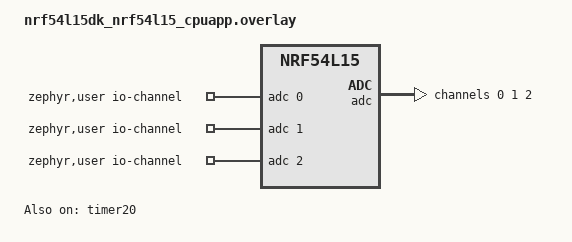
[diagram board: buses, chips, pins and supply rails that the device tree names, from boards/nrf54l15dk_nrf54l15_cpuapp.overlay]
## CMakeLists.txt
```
# SPDX-License-Identifier: Apache-2.0

cmake_minimum_required(VERSION 3.20.0)

find_package(Zephyr REQUIRED HINTS $ENV{ZEPHYR_BASE})
project(nrfx_timer_gppi_saadc)

target_sources(app PRIVATE src/main.c)
```

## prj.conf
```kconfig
CONFIG_LOG=y
CONFIG_COUNTER=y
CONFIG_ADC=y
CONFIG_NORDIC_DPPI=y
```

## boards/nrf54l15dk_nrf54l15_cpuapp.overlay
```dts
/ {
	zephyr,user {
		io-channels = <&adc 0>, <&adc 1> , <&adc 2>;
	};
};

&adc {
	#address-cells = <1>;
	#size-cells = <0>;

	status = "okay";

	channel@0 {
		reg = <0>;
		zephyr,gain = "ADC_GAIN_1";
		zephyr,reference = "ADC_REF_INTERNAL";
		zephyr,acquisition-time = <ADC_ACQ_TIME(ADC_ACQ_TIME_MICROSECONDS, 10)>;
		zephyr,input-positive = <NRF_SAADC_AIN1>;
		zephyr,resolution = <10>;
	};

	channel@1 {
		reg = <1>;
		zephyr,gain = "ADC_GAIN_1_4";
		zephyr,reference = "ADC_REF_EXTERNAL0";
		zephyr,acquisition-time = <ADC_ACQ_TIME_DEFAULT>;
		zephyr,input-positive = <NRF_SAADC_AIN4>;
		zephyr,resolution = <12>;
	};

	channel@2 {
		reg = <2>;
		zephyr,gain = "ADC_GAIN_2_3";
		zephyr,reference = "ADC_REF_INTERNAL";
		zephyr,acquisition-time = <ADC_ACQ_TIME(ADC_ACQ_TIME_MICROSECONDS, 10)>;
		zephyr,input-positive = <NRF_SAADC_AIN2>;
		zephyr,resolution = <10>;
	};
};

&timer20 {
	status = "okay";
	prescaler = <4>;
};
```

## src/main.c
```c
/*
 * Copyright (c) 2019 Nordic Semiconductor ASA
 *
 * SPDX-License-Identifier: Apache-2.0
 */

#include <zephyr/kernel.h>

#include <nrfx_gpiote.h>
#include <helpers/nrfx_gppi.h>
#include <hal/nrf_timer.h>
#include <hal/nrf_saadc.h>

#include <zephyr/drivers/adc.h>
#include <zephyr/drivers/adc/adc_nrf.h>
#include <zephyr/drivers/counter.h>
#include <zephyr/drivers/counter/counter_nrf.h>
#include <zephyr/drivers/misc/ppi/nrfx_dppi.h>

#include <zephyr/logging/log.h>
#include <zephyr/irq.h>
LOG_MODULE_REGISTER(nrfx_gppi, LOG_LEVEL_INF);

#define DEV_REG(node) ((void*)DT_REG_ADDR(DT_NODELABEL(node)))

#define DT_SPEC_AND_COMMA(node_id, prop, idx) ADC_DT_SPEC_GET_BY_IDX(node_id, idx),
static const struct adc_dt_spec adc_channels[] = {
	DT_FOREACH_PROP_ELEM(DT_PATH(zephyr_user), io_channels, DT_SPEC_AND_COMMA)
};

static int16_t saadc_buf1[9];
static int16_t saadc_buf2[9];
static int16_t * p_curr_buf;

static void adc_nrf_event_handler(nrfx_saadc_evt_t const * p_event)
{
    int err;
    const struct device * timer = DEVICE_DT_GET(DT_NODELABEL(timer20));
    const struct device * saadc = DEVICE_DT_GET(DT_NODELABEL(adc));

    LOG_INF("adc_nrf evt=%d", p_event->type);

    switch (p_event->type)
    {
        case NRFX_SAADC_EVT_DONE:
            break;

        case NRFX_SAADC_EVT_BUF_REQ:
            if (p_curr_buf == saadc_buf1) {
                p_curr_buf = saadc_buf2;
            } else { /* saadc_buf2 or NULL */
                p_curr_buf = saadc_buf1;
            }

            err = adc_nrf_provide_buffer(saadc, p_curr_buf, ARRAY_SIZE(saadc_buf1));
            __ASSERT_NO_MSG(err == 0);
            break;

        case NRFX_SAADC_EVT_READY:
            err = counter_start(timer);
            __ASSERT_NO_MSG(err == 0);
            break;

        case NRFX_SAADC_EVT_FINISHED:
            err = counter_stop(timer);
            __ASSERT_NO_MSG(err == 0);
            break;

        case NRFX_SAADC_EVT_CALIBRATEDONE:
            break;

        case NRFX_SAADC_EVT_LIMIT:
            break;

        default:
            LOG_ERR("Not supported event type");
            break;
    }
}

void setup_saadc_on_timer(void)
{
}

int main(void)
{
	int err;

	LOG_INF("TIMER-GPPI-SAADC sample on %s", CONFIG_BOARD);

	/* --- Configuration --- */

	/* Initialize TIMER */
	const struct device * timer = DEVICE_DT_GET(DT_NODELABEL(timer20));

	struct counter_top_cfg cfg;
	cfg.ticks = counter_us_to_ticks(timer, 500 * 1000UL) - 1;
	cfg.callback = NULL;

	err = counter_set_top_value(timer, &cfg);
	__ASSERT_NO_MSG(err == 0);

	/* Initialize SAADC */
	memset(saadc_buf1, 0xFF, sizeof(saadc_buf1));
	memset(saadc_buf2, 0xFF, sizeof(saadc_buf2));

	for (int i = 0; i < ARRAY_SIZE(adc_channels); i++) {
		err = adc_channel_setup_dt(&adc_channels[i]);
		__ASSERT_NO_MSG(err == 0);
	}

	struct adc_sequence sequence;
	(void)adc_sequence_init_dt(&adc_channels[0], &sequence);
	for (int i = 1; i < ARRAY_SIZE(adc_channels); i++) {
		sequence.channels |= BIT(adc_channels[i].channel_id);
	}

	static const adc_nrf_read_config_t adc_nrf_config_const =
	{
		.oversampling = NRF_SAADC_OVERSAMPLE_DISABLED,
		.burst = NRF_SAADC_BURST_DISABLED,
		.internal_timer_cc = 0,
		.start_on_end = true,
	};

	/* Allocate the interconnect channel. */
	uint32_t handle;
	uint32_t eep = counter_nrf_ppi_event_get(DEV_REG(timer20), NRF_TIMER_EVENT_COMPARE0);
	uint32_t tep = adc_nrf_ppi_task_get(DEV_REG(adc), NRF_SAADC_TASK_SAMPLE);
	err = nrf_dppi_conn_alloc(eep, tep, &handle);
	if (err < 0) {
		LOG_ERR("Failed to setup DPPI.");
	}

	/* Enable the interconnect channel. */
	nrf_dppi_conn_ctrl(handle, true);

	/* --- Operation --- */

    const struct device * saadc = DEVICE_DT_GET(DT_NODELABEL(adc));
	err = adc_nrf_read_start(saadc, 0x7, &adc_nrf_config_const, adc_nrf_event_handler);
	if (err < 0) {
		LOG_ERR("Failed to start ADC: %d", err);
	}

	return 0;
}
```
